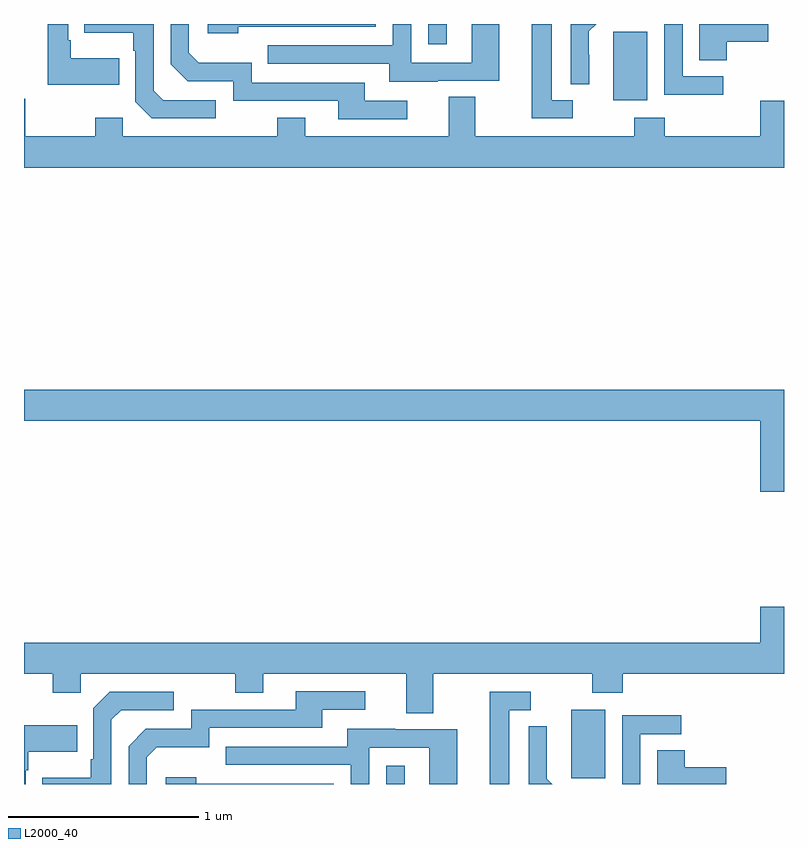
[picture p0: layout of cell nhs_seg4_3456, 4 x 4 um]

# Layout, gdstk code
import gdstk
lib = gdstk.Library(unit=1e-6, precision=1e-09)
def R(c, l, rs):  # rectangles x0, y0, x1, y1
    for r in rs: c.add(gdstk.rectangle(r[:2], r[2:], *l))
def P(c, l, *ps):  # polygons
    for p in ps: c.add(gdstk.Polygon(p, *l))
L2000_40 = (2000, 40)

nhs_seg4_3456 = lib.new_cell('nhs_seg4_3456')
R(nhs_seg4_3456, L2000_40, [(294.906,802.9,295.003,802.996), (295.88,802.929,296.059,803.29), (296.102,806.498,296.281,806.859), (295.128,806.793,295.225,806.9)])
P(nhs_seg4_3456, L2000_40, [(295.177,806.601),(295.501,806.601),(295.501,806.9),(295.356,806.9),(295.356,806.697),(295.038,806.697),(295.038,806.9),(294.942,806.9),(294.942,806.787),(294.283,806.787),(294.283,806.691),(294.923,806.691),(294.923,806.597),(295.177,806.597)],
  [(296.699,806.806),(296.917,806.806),(296.917,806.9),(296.555,806.9),(296.555,806.71),(296.699,806.71)],
  [(295.018,806.496),(294.793,806.496),(294.793,806.592),(294.198,806.592),(294.198,806.695),(293.921,806.695),(293.868,806.748),(293.868,806.9),(293.772,806.9),(293.772,806.688),(293.862,806.598),(294.102,806.598),(294.102,806.496),(294.653,806.496),(294.653,806.4),(295.018,806.4)],
  [(294.01,806.499),(293.733,806.499),(293.682,806.55),(293.682,806.9),(293.317,806.9),(293.317,806.855),(293.574,806.855),(293.574,806.759),(293.586,806.759),(293.586,806.49),(293.673,806.403),(294.01,806.403)],
  [(295.888,806.499),(295.777,806.499),(295.777,806.9),(295.673,806.9),(295.673,806.403),(295.888,806.403)],
  [(293.501,806.719),(293.245,806.719),(293.245,806.815),(293.232,806.815),(293.232,806.9),(293.124,806.9),(293.124,806.579),(293.501,806.579)],
  [(296.68,806.625),(296.466,806.625),(296.466,806.9),(296.37,806.9),(296.37,806.527),(296.68,806.527)],
  [(295.974,806.738),(295.973,806.738),(295.973,806.861),(296.012,806.9),(295.878,806.9),(295.878,806.584),(295.974,806.584)],
  [(294.128,806.886),(294.852,806.886),(294.852,806.9),(293.967,806.9),(293.967,806.852),(294.128,806.852)],
  [(297,806.497),(296.876,806.497),(296.876,806.308),(296.372,806.308),(296.372,806.407),(296.212,806.407),(296.212,806.308),(295.375,806.308),(295.375,806.516),(295.235,806.516),(295.235,806.308),(294.481,806.308),(294.481,806.407),(294.334,806.407),(294.334,806.308),(293.52,806.308),(293.52,806.407),(293.374,806.407),(293.374,806.308),(293.007,806.308),(293.007,806.507),(293,806.507),(293,806.144),(297,806.144)],
  [(297,804.976),(293,804.976),(293,804.812),(296.876,804.812),(296.876,804.438),(297,804.438)],
  [(295.153,803.48),(295.99,803.48),(295.99,803.381),(296.15,803.381),(296.15,803.48),(297,803.48),(297,803.833),(296.876,803.833),(296.876,803.644),(293,803.644),(293,803.48),(293.152,803.48),(293.152,803.381),(293.298,803.381),(293.298,803.48),(294.112,803.48),(294.112,803.381),(294.259,803.381),(294.259,803.48),(295.013,803.48),(295.013,803.272),(295.153,803.272)],
  [(293.646,803.04),(293.699,803.093),(293.976,803.093),(293.976,803.196),(294.571,803.196),(294.571,803.292),(294.796,803.292),(294.796,803.388),(294.431,803.388),(294.431,803.292),(293.88,803.292),(293.88,803.19),(293.64,803.19),(293.55,803.1),(293.55,802.9),(293.646,802.9)],
  [(293.46,803.238),(293.511,803.289),(293.788,803.289),(293.788,803.385),(293.451,803.385),(293.364,803.298),(293.364,803.029),(293.352,803.029),(293.352,802.933),(293.095,802.933),(293.095,802.9),(293.46,802.9)],
  [(295.555,803.289),(295.666,803.289),(295.666,803.385),(295.451,803.385),(295.451,802.9),(295.555,802.9)],
  [(296.244,803.163),(296.458,803.163),(296.458,803.262),(296.148,803.262),(296.148,802.9),(296.244,802.9)],
  [(293.01,802.973),(293.023,802.973),(293.023,803.069),(293.279,803.069),(293.279,803.209),(293,803.209),(293,802.9),(293.01,802.9)],
  [(295.751,802.928),(295.751,803.05),(295.752,803.05),(295.752,803.204),(295.656,803.204),(295.656,802.9),(295.779,802.9)],
  [(294.816,803.091),(295.134,803.091),(295.134,802.9),(295.279,802.9),(295.279,803.187),(294.955,803.187),(294.955,803.191),(294.701,803.191),(294.701,803.097),(294.061,803.097),(294.061,803.001),(294.72,803.001),(294.72,802.9),(294.816,802.9)],
  [(296.695,802.988),(296.477,802.988),(296.477,803.078),(296.333,803.078),(296.333,802.9),(296.695,802.9)],
  [(294.63,802.902),(293.906,802.902),(293.906,802.936),(293.745,802.936),(293.745,802.9),(294.63,802.9)])

lib.write_gds('nhs_seg4_3456.gds')
